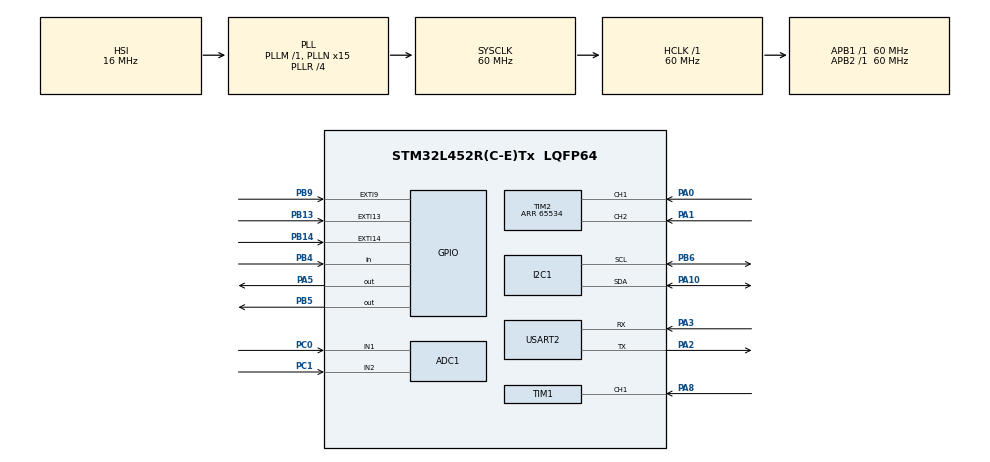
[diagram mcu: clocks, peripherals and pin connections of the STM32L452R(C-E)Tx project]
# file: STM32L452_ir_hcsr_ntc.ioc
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ADC1.Channel-2\#ChannelRegularConversion=ADC_CHANNEL_1
ADC1.Channel-3\#ChannelRegularConversion=ADC_CHANNEL_1
ADC1.ContinuousConvMode=ENABLE
ADC1.DMAContinuousRequests=ENABLE
ADC1.NbrOfConversion=2
ADC1.NbrOfConversionFlag=1
ADC1.OffsetNumber-2\#ChannelRegularConversion=ADC_OFFSET_NONE
ADC1.OffsetNumber-3\#ChannelRegularConversion=ADC_OFFSET_NONE
ADC1.Rank-2\#ChannelRegularConversion=1
ADC1.Rank-3\#ChannelRegularConversion=2
ADC1.SamplingTime-2\#ChannelRegularConversion=ADC_SAMPLETIME_2CYCLES_5
ADC1.SamplingTime-3\#ChannelRegularConversion=ADC_SAMPLETIME_2CYCLES_5
ADC1.SingleDiff-2\#ChannelRegularConversion=ADC_DIFFERENTIAL_ENDED
ADC1.SingleDiff-3\#ChannelRegularConversion=ADC_DIFFERENTIAL_ENDED
ADC1.master=1
Dma.ADC1.1.Direction=DMA_PERIPH_TO_MEMORY
Dma.ADC1.1.Instance=DMA1_Channel1
Dma.ADC1.1.MemDataAlignment=DMA_MDATAALIGN_HALFWORD
Dma.ADC1.1.MemInc=DMA_MINC_ENABLE
Dma.ADC1.1.Mode=DMA_CIRCULAR
Dma.ADC1.1.PeriphDataAlignment=DMA_PDATAALIGN_HALFWORD
Dma.ADC1.1.PeriphInc=DMA_PINC_DISABLE
Dma.ADC1.1.Priority=DMA_PRIORITY_LOW
Dma.Request0=USART2_TX
Dma.Request1=ADC1
Dma.USART2_TX.0.Direction=DMA_MEMORY_TO_PERIPH
Dma.USART2_TX.0.Instance=DMA1_Channel7
Dma.USART2_TX.0.MemDataAlignment=DMA_MDATAALIGN_BYTE
Dma.USART2_TX.0.MemInc=DMA_MINC_ENABLE
Dma.USART2_TX.0.Mode=DMA_NORMAL
Dma.USART2_TX.0.PeriphDataAlignment=DMA_PDATAALIGN_BYTE
Dma.USART2_TX.0.PeriphInc=DMA_PINC_DISABLE
Dma.USART2_TX.0.Priority=DMA_PRIORITY_LOW
I2C1.Timing=0x107075B0
Mcu.Family=STM32L4
Mcu.Name=STM32L452R(C-E)Tx
Mcu.Package=LQFP64
NVIC.DMA1_Channel1_IRQn=true\:0\:0\:false\:false\:true\:false\:true
NVIC.DMA1_Channel7_IRQn=true\:0\:0\:false\:false\:true\:false\:true
NVIC.EXTI15_10_IRQn=true\:0\:0\:false\:false\:true\:true\:true
NVIC.EXTI9_5_IRQn=true\:0\:0\:false\:false\:true\:true\:true
NVIC.PriorityGroup=NVIC_PRIORITYGROUP_4
NVIC.TIM1_CC_IRQn=true\:0\:0\:false\:false\:true\:true\:true
NVIC.TIM6_DAC_IRQn=true\:0\:0\:false\:false\:true\:true\:true
PA0.GPIO_PuPd=GPIO_PULLUP
PA0.Signal=S_TIM2_CH1
PA1.GPIO_PuPd=GPIO_PULLUP
PA1.Signal=S_TIM2_CH2
PA10.Mode=I2C
PA10.Signal=I2C1_SDA
PA2.Mode=Asynchronous
PA2.Signal=USART2_TX
PA3.Mode=Asynchronous
PA3.Signal=USART2_RX
PA5.Signal=GPIO_Output
PA8.Signal=S_TIM1_CH1
PB13.GPIO_ModeDefaultEXTI=GPIO_MODE_IT_RISING_FALLING
PB13.Signal=GPXTI13
PB14.GPIO_ModeDefaultEXTI=GPIO_MODE_IT_RISING_FALLING
PB14.Signal=GPXTI14
PB4\ (NJTRST).Signal=GPIO_Input
PB5.Signal=GPIO_Output
PB6.Mode=I2C
PB6.Signal=I2C1_SCL
PB9.Signal=GPXTI9
PC0.Signal=ADCx_IN1
PC1.Signal=ADCx_IN2
PH0-OSC_IN\ (PH0).Mode=HSE-External-Oscillator
PH0-OSC_IN\ (PH0).Signal=RCC_OSC_IN
PH1-OSC_OUT\ (PH1).Mode=HSE-External-Oscillator
PH1-OSC_OUT\ (PH1).Signal=RCC_OSC_OUT
ProjectManager.HeapSize=0x200
ProjectManager.StackSize=0x400
ProjectManager.TargetToolchain=STM32CubeIDE
RCC.ADCFreq_Value=64000000
RCC.AHBFreq_Value=60000000
RCC.APB1Freq_Value=60000000
RCC.APB1TimFreq_Value=60000000
RCC.APB2Freq_Value=60000000
RCC.APB2TimFreq_Value=60000000
RCC.CortexFreq_Value=60000000
RCC.HCLKFreq_Value=60000000
RCC.HSE_VALUE=8000000
RCC.HSI48_VALUE=48000000
RCC.HSI_VALUE=16000000
RCC.LSE_VALUE=32768
RCC.MSI_VALUE=4000000
RCC.PLLN=15
RCC.PLLR=RCC_PLLR_DIV4
RCC.PLLSourceVirtual=RCC_PLLSOURCE_HSI
RCC.SYSCLKFreq_VALUE=60000000
RCC.SYSCLKSource=RCC_SYSCLKSOURCE_PLLCLK
RCC.USBFreq_Value=64000000
RCC.VCOOutputFreq_Value=240000000
SH.ADCx_IN1.0=ADC1_IN1,IN1-Differential
SH.ADCx_IN2.0=ADC1_IN2,IN1-Differential
SH.S_TIM1_CH1.0=TIM1_CH1,Input_Capture1_from_TI1
SH.S_TIM2_CH1.0=TIM2_CH1,Encoder_Interface
SH.S_TIM2_CH2.0=TIM2_CH2,Encoder_Interface
TIM1.Channel-Input_Capture1_from_TI1=TIM_CHANNEL_1
TIM1.Period=65534
TIM1.Prescaler=59
TIM2.Period=65534
TIM6.Period=2000
TIM6.Prescaler=199
TIM6.TIM_MasterOutputTrigger=TIM_TRGO_UPDATE
USART2.VirtualMode-Asynchronous=VM_ASYNC
VP_TIM6_VS_ClockSourceINT.Mode=Enable_Timer
board=custom

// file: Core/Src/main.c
/* USER CODE BEGIN Header */
/**
  ******************************************************************************
  * @file           : main.c
  * @brief          : Main program body
  ******************************************************************************
  * @attention
  *
  * <h2><center>&copy; Copyright (c) 2020 STMicroelectronics.
  * All rights reserved.</center></h2>
  *
  * This software component is licensed by ST under BSD 3-Clause license,
  * the "License"; You may not use this file except in compliance with the
  * License. You may obtain a copy of the License at:
  *                        opensource.org/licenses/BSD-3-Clause
  *
  ******************************************************************************
  */
/* USER CODE END Header */

#include "main.h"

/* USER CODE BEGIN Includes */
#include "../Libs/encoder/encoder.h"
#include "../Libs/ssd1306/ssd1306.h"
#include "../Libs/dwt_delay/dwt_delay.h"
#include "../Libs/hcsr04_IC/hcsr04.h"
#include "../Libs/dma_adc_sensor/dma_adc_sensor.h"
#include "../Libs/NTC_sensor/NTC_sensor.h"
#include "../Libs/oled_menu/oled_menu.h"
#include "../Libs/ir_obstacle_sensor/ir_obstacle_sensor.h"
#include <stdio.h>
#include <string.h>
#include <math.h>

//#include "../Libs/dma_adc_sensor/dma_adc_sensor.h"
/* USER CODE END Includes */

ADC_HandleTypeDef hadc1;
DMA_HandleTypeDef hdma_adc1;

I2C_HandleTypeDef hi2c1;

TIM_HandleTypeDef htim1;
TIM_HandleTypeDef htim2;
TIM_HandleTypeDef htim6;

UART_HandleTypeDef huart2;
DMA_HandleTypeDef hdma_usart2_tx;

/* USER CODE BEGIN PV */
Encoder_HandleTypeDef encoder;
IR_ObstacleSN_HandleTypeDef irsn;
HCSR04_HandleTypeDef hcsr;
NTC_Sensor_HnadleTypeDef ntc;
uint16_t val;
uint8_t mes[64];

/* USER CODE END PV */

void SystemClock_Config(void);
static void MX_GPIO_Init(void);
static void MX_DMA_Init(void);
static void MX_I2C1_Init(void);
static void MX_USART2_UART_Init(void);
static void MX_TIM1_Init(void);
static void MX_TIM6_Init(void);
static void MX_TIM2_Init(void);
static void MX_ADC1_Init(void);
/* USER CODE BEGIN PFP */
void InitDevices(void);
void LCD_PrintEncoderState(void);
void I2C_Scan(void);
void DMATransferComplete(DMA_HandleTypeDef *hdma);

/* USER CODE END PFP */

int main(void)
{

  /* MCU Configuration--------------------------------------------------------*/

  /* Reset of all peripherals, Initializes the Flash interface and the Systick. */
  HAL_Init();

  /* Configure the system clock */
  SystemClock_Config();

  /* Initialize all configured peripherals */
  MX_GPIO_Init();
  MX_DMA_Init();
  MX_I2C1_Init();
  MX_USART2_UART_Init();
  MX_TIM1_Init();
  MX_TIM6_Init();
  MX_TIM2_Init();
  MX_ADC1_Init();
  /* USER CODE BEGIN 2 */
  InitDevices();
  /* USER CODE END 2 */

  /* Infinite loop */
  /* USER CODE BEGIN WHILE */
  EncoderInit(&encoder);
  I2C_Scan();
  ssd1306_Init();
  DWT_Init();
  HCSR04_Init(&hcsr);
  DMA_ADC_Sensor_Init(&hadc1);

  HAL_DMA_RegisterCallback(&hdma_usart2_tx, HAL_DMA_XFER_CPLT_CB_ID, &DMATransferComplete);

  HAL_TIM_Base_Start(&htim6);
  HAL_TIM_Base_Start_IT(&htim6);

  while (1) //==================================================================================WHILE========!!!
  {
		HCSR04_ReadDistance(&hcsr);

		//OLED_PrintMenu();

		HAL_Delay(1000);

		//======TEST SECTION=========
		huart2.Instance->CR3 |= USART_CR3_DMAT;

		val = encoder.tumblerState;

		sprintf((char*)mes, "{TEST=%d}{TEST1=%d}\r\n", val, HCSR04_GetDistance(&hcsr) );
		HAL_DMA_Start_IT(&hdma_usart2_tx, (uint32_t)mes, (uint32_t)&huart2.Instance->TDR, strlen((char*)mes));

		HAL_GPIO_TogglePin(GPIOA, GPIO_PIN_5);

    /* USER CODE END WHILE */

  }
}

void SystemClock_Config(void)
{
  RCC_OscInitTypeDef RCC_OscInitStruct = {0};
  RCC_ClkInitTypeDef RCC_ClkInitStruct = {0};
  RCC_PeriphCLKInitTypeDef PeriphClkInit = {0};

  /** Initializes the CPU, AHB and APB busses clocks
  */
  RCC_OscInitStruct.OscillatorType = RCC_OSCILLATORTYPE_HSI;
  RCC_OscInitStruct.HSIState = RCC_HSI_ON;
  RCC_OscInitStruct.HSICalibrationValue = RCC_HSICALIBRATION_DEFAULT;
  RCC_OscInitStruct.PLL.PLLState = RCC_PLL_ON;
  RCC_OscInitStruct.PLL.PLLSource = RCC_PLLSOURCE_HSI;
  RCC_OscInitStruct.PLL.PLLM = 1;
  RCC_OscInitStruct.PLL.PLLN = 15;
  RCC_OscInitStruct.PLL.PLLP = RCC_PLLP_DIV7;
  RCC_OscInitStruct.PLL.PLLQ = RCC_PLLQ_DIV2;
  RCC_OscInitStruct.PLL.PLLR = RCC_PLLR_DIV4;
  if (HAL_RCC_OscConfig(&RCC_OscInitStruct) != HAL_OK)
  {
    Error_Handler();
  }
  /** Initializes the CPU, AHB and APB busses clocks
  */
  RCC_ClkInitStruct.ClockType = RCC_CLOCKTYPE_HCLK|RCC_CLOCKTYPE_SYSCLK
                              |RCC_CLOCKTYPE_PCLK1|RCC_CLOCKTYPE_PCLK2;
  RCC_ClkInitStruct.SYSCLKSource = RCC_SYSCLKSOURCE_PLLCLK;
  RCC_ClkInitStruct.AHBCLKDivider = RCC_SYSCLK_DIV1;
  RCC_ClkInitStruct.APB1CLKDivider = RCC_HCLK_DIV1;
  RCC_ClkInitStruct.APB2CLKDivider = RCC_HCLK_DIV1;

  if (HAL_RCC_ClockConfig(&RCC_ClkInitStruct, FLASH_LATENCY_3) != HAL_OK)
  {
    Error_Handler();
  }
  PeriphClkInit.PeriphClockSelection = RCC_PERIPHCLK_USART2|RCC_PERIPHCLK_I2C1
                              |RCC_PERIPHCLK_ADC;
  PeriphClkInit.Usart2ClockSelection = RCC_USART2CLKSOURCE_PCLK1;
  PeriphClkInit.I2c1ClockSelection = RCC_I2C1CLKSOURCE_PCLK1;
  PeriphClkInit.AdcClockSelection = RCC_ADCCLKSOURCE_PLLSAI1;
  PeriphClkInit.PLLSAI1.PLLSAI1Source = RCC_PLLSOURCE_HSI;
  PeriphClkInit.PLLSAI1.PLLSAI1M = 1;
  PeriphClkInit.PLLSAI1.PLLSAI1N = 8;
  PeriphClkInit.PLLSAI1.PLLSAI1P = RCC_PLLP_DIV7;
  PeriphClkInit.PLLSAI1.PLLSAI1Q = RCC_PLLQ_DIV2;
  PeriphClkInit.PLLSAI1.PLLSAI1R = RCC_PLLR_DIV2;
  PeriphClkInit.PLLSAI1.PLLSAI1ClockOut = RCC_PLLSAI1_ADC1CLK;
  if (HAL_RCCEx_PeriphCLKConfig(&PeriphClkInit) != HAL_OK)
  {
    Error_Handler();
  }
  /** Configure the main internal regulator output voltage
  */
  if (HAL_PWREx_ControlVoltageScaling(PWR_REGULATOR_VOLTAGE_SCALE1) != HAL_OK)
  {
    Error_Handler();
  }
}

static void MX_ADC1_Init(void)
{

  ADC_ChannelConfTypeDef sConfig = {0};

  /** Common config
  */
  hadc1.Instance = ADC1;
  hadc1.Init.ClockPrescaler = ADC_CLOCK_ASYNC_DIV1;
  hadc1.Init.Resolution = ADC_RESOLUTION_12B;
  hadc1.Init.DataAlign = ADC_DATAALIGN_RIGHT;
  hadc1.Init.ScanConvMode = ADC_SCAN_ENABLE;
  hadc1.Init.EOCSelection = ADC_EOC_SINGLE_CONV;
  hadc1.Init.LowPowerAutoWait = DISABLE;
  hadc1.Init.ContinuousConvMode = ENABLE;
  hadc1.Init.NbrOfConversion = 2;
  hadc1.Init.DiscontinuousConvMode = DISABLE;
  hadc1.Init.NbrOfDiscConversion = 1;
  hadc1.Init.ExternalTrigConv = ADC_SOFTWARE_START;
  hadc1.Init.ExternalTrigConvEdge = ADC_EXTERNALTRIGCONVEDGE_NONE;
  hadc1.Init.DMAContinuousRequests = ENABLE;
  hadc1.Init.Overrun = ADC_OVR_DATA_PRESERVED;
  hadc1.Init.OversamplingMode = DISABLE;
  if (HAL_ADC_Init(&hadc1) != HAL_OK)
  {
    Error_Handler();
  }
  /** Configure Regular Channel
  */
  sConfig.Channel = ADC_CHANNEL_1;
  sConfig.Rank = ADC_REGULAR_RANK_1;
  sConfig.SamplingTime = ADC_SAMPLETIME_2CYCLES_5;
  sConfig.SingleDiff = ADC_DIFFERENTIAL_ENDED;
  sConfig.OffsetNumber = ADC_OFFSET_NONE;
  sConfig.Offset = 0;
  if (HAL_ADC_ConfigChannel(&hadc1, &sConfig) != HAL_OK)
  {
    Error_Handler();
  }
  /** Configure Regular Channel
  */
  sConfig.Rank = ADC_REGULAR_RANK_2;
  if (HAL_ADC_ConfigChannel(&hadc1, &sConfig) != HAL_OK)
  {
    Error_Handler();
  }

}

static void MX_I2C1_Init(void)
{

  hi2c1.Instance = I2C1;
  hi2c1.Init.Timing = 0x107075B0;
  hi2c1.Init.OwnAddress1 = 0;
  hi2c1.Init.AddressingMode = I2C_ADDRESSINGMODE_7BIT;
  hi2c1.Init.DualAddressMode = I2C_DUALADDRESS_DISABLE;
  hi2c1.Init.OwnAddress2 = 0;
  hi2c1.Init.OwnAddress2Masks = I2C_OA2_NOMASK;
  hi2c1.Init.GeneralCallMode = I2C_GENERALCALL_DISABLE;
  hi2c1.Init.NoStretchMode = I2C_NOSTRETCH_DISABLE;
  if (HAL_I2C_Init(&hi2c1) != HAL_OK)
  {
    Error_Handler();
  }
  /** Configure Analogue filter
  */
  if (HAL_I2CEx_ConfigAnalogFilter(&hi2c1, I2C_ANALOGFILTER_ENABLE) != HAL_OK)
  {
    Error_Handler();
  }
  /** Configure Digital filter
  */
  if (HAL_I2CEx_ConfigDigitalFilter(&hi2c1, 0) != HAL_OK)
  {
    Error_Handler();
  }

}

static void MX_TIM1_Init(void)
{

  TIM_MasterConfigTypeDef sMasterConfig = {0};
  TIM_IC_InitTypeDef sConfigIC = {0};

  htim1.Instance = TIM1;
  htim1.Init.Prescaler = 59;
  htim1.Init.CounterMode = TIM_COUNTERMODE_UP;
  htim1.Init.Period = 65534;
  htim1.Init.ClockDivision = TIM_CLOCKDIVISION_DIV1;
  htim1.Init.RepetitionCounter = 0;
  htim1.Init.AutoReloadPreload = TIM_AUTORELOAD_PRELOAD_DISABLE;
  if (HAL_TIM_IC_Init(&htim1) != HAL_OK)
  {
    Error_Handler();
  }
  sMasterConfig.MasterOutputTrigger = TIM_TRGO_RESET;
  sMasterConfig.MasterOutputTrigger2 = TIM_TRGO2_RESET;
  sMasterConfig.MasterSlaveMode = TIM_MASTERSLAVEMODE_DISABLE;
  if (HAL_TIMEx_MasterConfigSynchronization(&htim1, &sMasterConfig) != HAL_OK)
  {
    Error_Handler();
  }
  sConfigIC.ICPolarity = TIM_INPUTCHANNELPOLARITY_RISING;
  sConfigIC.ICSelection = TIM_ICSELECTION_DIRECTTI;
  sConfigIC.ICPrescaler = TIM_ICPSC_DIV1;
  sConfigIC.ICFilter = 0;
  if (HAL_TIM_IC_ConfigChannel(&htim1, &sConfigIC, TIM_CHANNEL_1) != HAL_OK)
  {
    Error_Handler();
  }

}

static void MX_TIM2_Init(void)
{

  TIM_Encoder_InitTypeDef sConfig = {0};
  TIM_MasterConfigTypeDef sMasterConfig = {0};

  htim2.Instance = TIM2;
  htim2.Init.Prescaler = 0;
  htim2.Init.CounterMode = TIM_COUNTERMODE_UP;
  htim2.Init.Period = 65534;
  htim2.Init.ClockDivision = TIM_CLOCKDIVISION_DIV1;
  htim2.Init.AutoReloadPreload = TIM_AUTORELOAD_PRELOAD_DISABLE;
  sConfig.EncoderMode = TIM_ENCODERMODE_TI1;
  sConfig.IC1Polarity = TIM_ICPOLARITY_RISING;
  sConfig.IC1Selection = TIM_ICSELECTION_DIRECTTI;
  sConfig.IC1Prescaler = TIM_ICPSC_DIV1;
  sConfig.IC1Filter = 0;
  sConfig.IC2Polarity = TIM_ICPOLARITY_RISING;
  sConfig.IC2Selection = TIM_ICSELECTION_DIRECTTI;
  sConfig.IC2Prescaler = TIM_ICPSC_DIV1;
  sConfig.IC2Filter = 0;
  if (HAL_TIM_Encoder_Init(&htim2, &sConfig) != HAL_OK)
  {
    Error_Handler();
  }
  sMasterConfig.MasterOutputTrigger = TIM_TRGO_RESET;
  sMasterConfig.MasterSlaveMode = TIM_MASTERSLAVEMODE_DISABLE;
  if (HAL_TIMEx_MasterConfigSynchronization(&htim2, &sMasterConfig) != HAL_OK)
  {
    Error_Handler();
  }

}

static void MX_TIM6_Init(void)
{

  TIM_MasterConfigTypeDef sMasterConfig = {0};

  htim6.Instance = TIM6;
  htim6.Init.Prescaler = 199;
  htim6.Init.CounterMode = TIM_COUNTERMODE_UP;
  htim6.Init.Period = 2000;
  htim6.Init.AutoReloadPreload = TIM_AUTORELOAD_PRELOAD_DISABLE;
  if (HAL_TIM_Base_Init(&htim6) != HAL_OK)
  {
    Error_Handler();
  }
  sMasterConfig.MasterOutputTrigger = TIM_TRGO_UPDATE;
  sMasterConfig.MasterSlaveMode = TIM_MASTERSLAVEMODE_DISABLE;
  if (HAL_TIMEx_MasterConfigSynchronization(&htim6, &sMasterConfig) != HAL_OK)
  {
    Error_Handler();
  }

}

static void MX_USART2_UART_Init(void)
{

  huart2.Instance = USART2;
  huart2.Init.BaudRate = 115200;
  huart2.Init.WordLength = UART_WORDLENGTH_8B;
  huart2.Init.StopBits = UART_STOPBITS_1;
  huart2.Init.Parity = UART_PARITY_NONE;
  huart2.Init.Mode = UART_MODE_TX_RX;
  huart2.Init.HwFlowCtl = UART_HWCONTROL_NONE;
  huart2.Init.OverSampling = UART_OVERSAMPLING_16;
  huart2.Init.OneBitSampling = UART_ONE_BIT_SAMPLE_DISABLE;
  huart2.AdvancedInit.AdvFeatureInit = UART_ADVFEATURE_NO_INIT;
  if (HAL_UART_Init(&huart2) != HAL_OK)
  {
    Error_Handler();
  }

}

static void MX_DMA_Init(void)
{

  /* DMA controller clock enable */
  __HAL_RCC_DMA1_CLK_ENABLE();

  /* DMA interrupt init */
  /* DMA1_Channel1_IRQn interrupt configuration */
  HAL_NVIC_SetPriority(DMA1_Channel1_IRQn, 0, 0);
  HAL_NVIC_EnableIRQ(DMA1_Channel1_IRQn);
  /* DMA1_Channel7_IRQn interrupt configuration */
  HAL_NVIC_SetPriority(DMA1_Channel7_IRQn, 0, 0);
  HAL_NVIC_EnableIRQ(DMA1_Channel7_IRQn);

}

static void MX_GPIO_Init(void)
{
  GPIO_InitTypeDef GPIO_InitStruct = {0};

  /* GPIO Ports Clock Enable */
  __HAL_RCC_GPIOH_CLK_ENABLE();
  __HAL_RCC_GPIOC_CLK_ENABLE();
  __HAL_RCC_GPIOA_CLK_ENABLE();
  __HAL_RCC_GPIOB_CLK_ENABLE();

  /*Configure GPIO pin Output Level */
  HAL_GPIO_WritePin(GPIOA, GPIO_PIN_5, GPIO_PIN_RESET);

  /*Configure GPIO pin Output Level */
  HAL_GPIO_WritePin(GPIOB, GPIO_PIN_5, GPIO_PIN_RESET);

  /*Configure GPIO pin : PA5 */
  GPIO_InitStruct.Pin = GPIO_PIN_5;
  GPIO_InitStruct.Mode = GPIO_MODE_OUTPUT_PP;
  GPIO_InitStruct.Pull = GPIO_NOPULL;
  GPIO_InitStruct.Speed = GPIO_SPEED_FREQ_LOW;
  HAL_GPIO_Init(GPIOA, &GPIO_InitStruct);

  /*Configure GPIO pins : PB13 PB14 */
  GPIO_InitStruct.Pin = GPIO_PIN_13|GPIO_PIN_14;
  GPIO_InitStruct.Mode = GPIO_MODE_IT_RISING_FALLING;
  GPIO_InitStruct.Pull = GPIO_NOPULL;
  HAL_GPIO_Init(GPIOB, &GPIO_InitStruct);

  /*Configure GPIO pin : PB4 */
  GPIO_InitStruct.Pin = GPIO_PIN_4;
  GPIO_InitStruct.Mode = GPIO_MODE_INPUT;
  GPIO_InitStruct.Pull = GPIO_NOPULL;
  HAL_GPIO_Init(GPIOB, &GPIO_InitStruct);

  /*Configure GPIO pin : PB5 */
  GPIO_InitStruct.Pin = GPIO_PIN_5;
  GPIO_InitStruct.Mode = GPIO_MODE_OUTPUT_PP;
  GPIO_InitStruct.Pull = GPIO_NOPULL;
  GPIO_InitStruct.Speed = GPIO_SPEED_FREQ_LOW;
  HAL_GPIO_Init(GPIOB, &GPIO_InitStruct);

  /*Configure GPIO pin : PB9 */
  GPIO_InitStruct.Pin = GPIO_PIN_9;
  GPIO_InitStruct.Mode = GPIO_MODE_IT_RISING;
  GPIO_InitStruct.Pull = GPIO_NOPULL;
  HAL_GPIO_Init(GPIOB, &GPIO_InitStruct);

  /* EXTI interrupt init*/
  HAL_NVIC_SetPriority(EXTI9_5_IRQn, 0, 0);
  HAL_NVIC_EnableIRQ(EXTI9_5_IRQn);

  HAL_NVIC_SetPriority(EXTI15_10_IRQn, 0, 0);
  HAL_NVIC_EnableIRQ(EXTI15_10_IRQn);

}

/* USER CODE BEGIN 4 */
//========================================================================================PIN CONFIGS========!!
void InitDevices(void) {
	encoder.CLK.GPIO = GPIOA;
	encoder.CLK.PIN = GPIO_PIN_0;
	encoder.DT.GPIO = GPIOA;
	encoder.DT.PIN = GPIO_PIN_1;
	encoder.SW.GPIO = GPIOB;
	encoder.SW.PIN = GPIO_PIN_9;
	encoder.tumblerEncoder_TIM = &htim2;

	irsn.IN.GPIO = GPIOB;
	irsn.IN.PIN = GPIO_PIN_4;

	hcsr.trig.GPIO = GPIOB;
	hcsr.trig.PIN = GPIO_PIN_5;
	hcsr.htim = &htim1;
	hcsr.channel = TIM_CHANNEL_1;

	ntc.adc.numberOfChannel = 0;
}

void I2C_Scan() {
    char LCD_Buffer[] = "Scanning I2C bus...\r\n";
    HAL_UART_Transmit(&huart2, (uint8_t*)LCD_Buffer, strlen(LCD_Buffer), HAL_MAX_DELAY);

    HAL_StatusTypeDef res;
    for(uint16_t i = 0; i < 128; i++) {
        res = HAL_I2C_IsDeviceReady(&hi2c1, i << 1, 1, 10);
        if(res == HAL_OK) {
            char msg[64];
            snprintf(msg, sizeof(msg), "0x%02X", i);
            HAL_UART_Transmit(&huart2, (uint8_t*)msg, strlen(msg), HAL_MAX_DELAY);
        } else {
            HAL_UART_Transmit(&huart2, (uint8_t*)".", 1, HAL_MAX_DELAY);
        }
    }
    HAL_UART_Transmit(&huart2, (uint8_t*)"\r\n", 2, HAL_MAX_DELAY);
}

void HAL_TIM_IC_CaptureCallback(TIM_HandleTypeDef *htim) {
	HCSR04_CaptureCallback(htim, &hcsr);
}

void DMATransferComplete(DMA_HandleTypeDef *hdma) {
	//disable UART DMA mode
	huart2.Instance->CR3 &= ~USART_CR3_DMAT;
}
/* USER CODE END 4 */

void Error_Handler(void)
{
}

/************************ (C) COPYRIGHT STMicroelectronics *****END OF FILE****/
